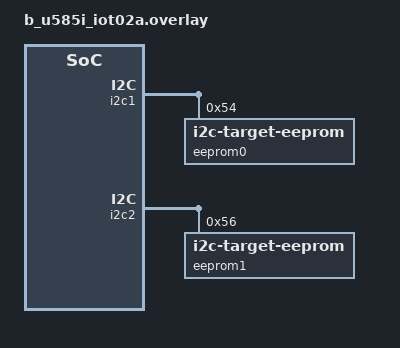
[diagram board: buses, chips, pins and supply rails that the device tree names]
/* SPDX-License-Identifier: Apache-2.0 */

/* I2C bus pins are exposed on the STMod+.
 *
 *  Bus        SDA               SCL
 *          Pin   Hdr         Pin   Hdr
 *  i2c1    PB9   CN3:10      PB8  CN3:7
 *  i2c2    PH5   CN2:10      PH4  CN2:7
 *
 * Short Pin PB9 to PH5, and PB8 to PH4, for the test to pass.
 */

/delete-node/ &eeprom0;

&i2c1 {
	dmas = <&gpdma1 0 13 STM32_DMA_PERIPH_TX>,
	       <&gpdma1 1 12 STM32_DMA_PERIPH_RX>;
	dma-names = "tx", "rx";

	eeprom0: eeprom@54 {
		compatible = "zephyr,i2c-target-eeprom";
		reg = <0x54>;
		size = <256>;
	};
};

&i2c2 {
	dmas = <&gpdma1 2 16 STM32_DMA_PERIPH_TX>,
	       <&gpdma1 3 15 STM32_DMA_PERIPH_RX>;
	dma-names = "tx", "rx";

	eeprom1: eeprom@56 {
		compatible = "zephyr,i2c-target-eeprom";
		reg = <0x56>;
		size = <256>;
	};
};
